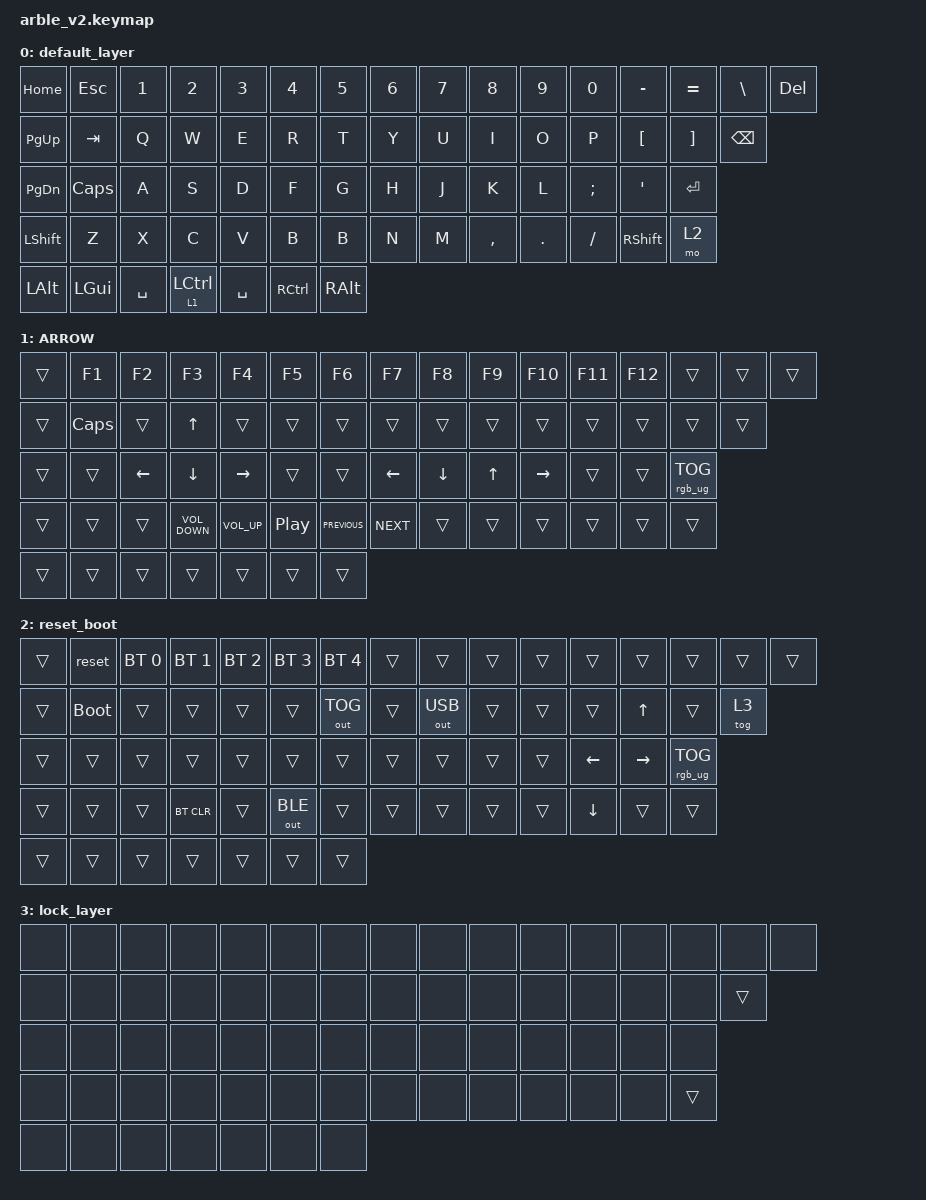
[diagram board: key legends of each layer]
/*
 * Copyright (c) 2021 Nick Winans
 *
 * SPDX-License-Identifier: MIT
 */

#include <behaviors.dtsi>
#include <dt-bindings/zmk/bt.h>
#include <dt-bindings/zmk/keys.h>
#include <dt-bindings/zmk/outputs.h>
#include <dt-bindings/zmk/rgb.h>

/ {
    keymap {
        compatible = "zmk,keymap";

        default_layer {
            bindings = <
&kp HOME      &kp ESC       &kp N1     &kp N2       &kp N3     &kp N4             &kp N5         &kp N6  &kp N7  &kp N8     &kp N9   &kp N0    &kp MINUS  &kp EQUAL  &kp BACKSLASH  &kp DELETE
&kp PAGE_UP   &kp TAB       &kp Q      &kp W        &kp E      &kp R              &kp T          &kp Y   &kp U   &kp I      &kp O    &kp P     &kp LBKT   &kp RBKT   &kp BACKSPACE
&kp PG_DN     &kp CAPS      &kp A      &kp S        &kp D      &kp F              &kp G          &kp H   &kp J   &kp K      &kp L    &kp SEMI  &kp SQT    &kp RET
&kp LSHFT     &kp Z         &kp X      &kp C        &kp V      &kp B              &kp B          &kp N   &kp M   &kp COMMA  &kp DOT  &kp FSLH  &kp RSHFT  &mo 2
&kp LEFT_ALT  &kp LEFT_GUI  &kp SPACE  &lt 1 LCTRL  &kp SPACE  &kp RIGHT_CONTROL  &kp RIGHT_ALT
            >;
        };

        ARROW {
            bindings = <
&trans  &kp F1    &kp F2    &kp F3             &kp F4        &kp F5            &kp F6          &kp F7      &kp F8    &kp F9  &kp F10    &kp F11  &kp F12  &trans           &trans  &trans
&trans  &kp CAPS  &trans    &kp UP             &trans        &trans            &trans          &trans      &trans    &trans  &trans     &trans   &trans   &trans           &trans
&trans  &trans    &kp LEFT  &kp DOWN           &kp RIGHT     &trans            &trans          &kp LEFT    &kp DOWN  &kp UP  &kp RIGHT  &trans   &trans   &rgb_ug RGB_TOG
&trans  &trans    &trans    &kp C_VOLUME_DOWN  &kp C_VOL_UP  &kp C_PLAY_PAUSE  &kp C_PREVIOUS  &kp C_NEXT  &trans    &trans  &trans     &trans   &trans   &trans
&trans  &trans    &trans    &trans             &trans        &trans            &trans
            >;
        };

        reset_boot {
            bindings = <
&trans  &reset       &bt BT_SEL 0  &bt BT_SEL 1  &bt BT_SEL 2  &bt BT_SEL 3  &bt BT_SEL 4  &trans  &trans        &trans  &trans  &trans    &trans     &trans           &trans  &trans
&trans  &bootloader  &trans        &trans        &trans        &trans        &out OUT_TOG  &trans  &out OUT_USB  &trans  &trans  &trans    &kp UP     &trans           &tog 3
&trans  &trans       &trans        &trans        &trans        &trans        &trans        &trans  &trans        &trans  &trans  &kp LEFT  &kp RIGHT  &rgb_ug RGB_TOG
&trans  &trans       &trans        &bt BT_CLR    &trans        &out OUT_BLE  &trans        &trans  &trans        &trans  &trans  &kp DOWN  &trans     &trans
&trans  &trans       &trans        &trans        &trans        &trans        &trans
            >;
        };

        lock_layer {
            bindings = <
&none  &none  &none  &none  &none  &none  &none  &none  &none  &none  &none  &none  &none  &none   &none   &none
&none  &none  &none  &none  &none  &none  &none  &none  &none  &none  &none  &none  &none  &none   &trans
&none  &none  &none  &none  &none  &none  &none  &none  &none  &none  &none  &none  &none  &none
&none  &none  &none  &none  &none  &none  &none  &none  &none  &none  &none  &none  &none  &trans
&none  &none  &none  &none  &none  &none  &none
            >;
        };
    };
};
